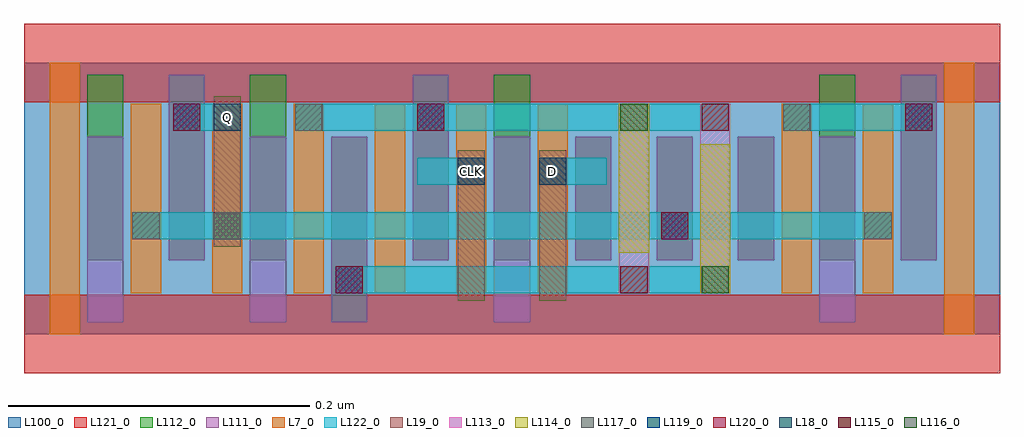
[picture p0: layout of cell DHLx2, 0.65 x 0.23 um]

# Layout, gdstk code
import gdstk
lib = gdstk.Library(unit=1e-6, precision=2.5e-10)
def R(c, l, rs):  # rectangles x0, y0, x1, y1
    for r in rs: c.add(gdstk.rectangle(r[:2], r[2:], *l))
def A(c, l, x, y, w, h, nx, ny, dx, dy):  # array of equal rectangles
    R(c, l, [(x+i*dx, y+j*dy, x+i*dx+w, y+j*dy+h) for i in range(nx) for j in range(ny)])
L7_0 = (7, 0)
L18_0 = (18, 0)
L19_0 = (19, 0)
L100_0 = (100, 0)
L111_0 = (111, 0)
L112_0 = (112, 0)
L113_0 = (113, 0)
L114_0 = (114, 0)
L115_0 = (115, 0)
L116_0 = (116, 0)
L117_0 = (117, 0)
L119_0 = (119, 0)
L120_0 = (120, 0)
L121_0 = (121, 0)
L122_0 = (122, 0)

dhlx2 = lib.new_cell('DHLx2')
A(dhlx2, L7_0, 0.071, 0.027, 0.02, 0.126, 6, 1, 0.054, 0)
R(dhlx2, L7_0, [(0.017,0,0.037,0.18), (0.611,0,0.631,0.18), (0.503,0.027,0.523,0.153), (0.557,0.027,0.577,0.153)])
R(dhlx2, L18_0, [(0.288,0.099,0.306,0.117), (0.342,0.099,0.36,0.117), (0.126,0.135,0.144,0.153)])
R(dhlx2, L19_0, [(0.288,0.022,0.306,0.122), (0.342,0.022,0.36,0.122), (0.126,0.058,0.144,0.158)])
R(dhlx2, L100_0, [(0,0,0.648,0.18)])
A(dhlx2, L111_0, 0.366, 0.049, 0.024, 0.082, 3, 1, 0.054, 0)
R(dhlx2, L111_0, [(0.042,0.008,0.066,0.131), (0.15,0.008,0.174,0.131), (0.204,0.008,0.228,0.131), (0.312,0.008,0.336,0.131), (0.528,0.008,0.552,0.131), (0.096,0.049,0.12,0.172), (0.258,0.049,0.282,0.172), (0.582,0.049,0.606,0.172)])
A(dhlx2, L112_0, 0.042, 0.049, 0.024, 0.123, 3, 1, 0.054, 0)
A(dhlx2, L112_0, 0.366, 0.049, 0.024, 0.082, 3, 1, 0.054, 0)
R(dhlx2, L112_0, [(0.204,0.008,0.228,0.131), (0.258,0.049,0.282,0.172), (0.312,0.049,0.336,0.172), (0.528,0.049,0.552,0.172), (0.582,0.049,0.606,0.172)])
R(dhlx2, L113_0, [(0.395,0.027,0.415,0.153), (0.449,0.027,0.469,0.153)])
R(dhlx2, L114_0, [(0.449,0.027,0.469,0.126), (0.395,0.054,0.415,0.153)])
R(dhlx2, L115_0, [(0.396,0.027,0.414,0.045), (0.45,0.135,0.468,0.153)])
R(dhlx2, L116_0, [(0.45,0.027,0.468,0.045), (0.396,0.135,0.414,0.153)])
R(dhlx2, L117_0, [(0.072,0.063,0.09,0.081), (0.126,0.063,0.144,0.081), (0.558,0.063,0.576,0.081), (0.288,0.099,0.306,0.117), (0.342,0.099,0.36,0.117), (0.18,0.135,0.198,0.153), (0.504,0.135,0.522,0.153)])
R(dhlx2, L119_0, [(0.207,0.027,0.225,0.045), (0.423,0.063,0.441,0.081), (0.099,0.135,0.117,0.153), (0.261,0.135,0.279,0.153), (0.585,0.135,0.603,0.153)])
R(dhlx2, L120_0, [(0.207,0.027,0.225,0.045), (0.423,0.063,0.441,0.081), (0.099,0.135,0.117,0.153), (0.261,0.135,0.279,0.153), (0.585,0.135,0.603,0.153)])
R(dhlx2, L121_0, [(0,-0.026,0.648,0.026), (0,0.154,0.648,0.206)])
R(dhlx2, L122_0, [(0.207,0.027,0.468,0.045), (0.072,0.063,0.576,0.081), (0.261,0.099,0.306,0.117), (0.342,0.099,0.387,0.117), (0.099,0.135,0.144,0.153), (0.18,0.135,0.468,0.153), (0.504,0.135,0.603,0.153)])
dhlx2.add(gdstk.Label('Q', (0.135,0.144), layer=19, texttype=251))
dhlx2.add(gdstk.Label('D', (0.351,0.108), layer=19, texttype=251))
dhlx2.add(gdstk.Label('CLK', (0.297,0.108), layer=19, texttype=251))

lib.write_gds('DHLx2.gds')
